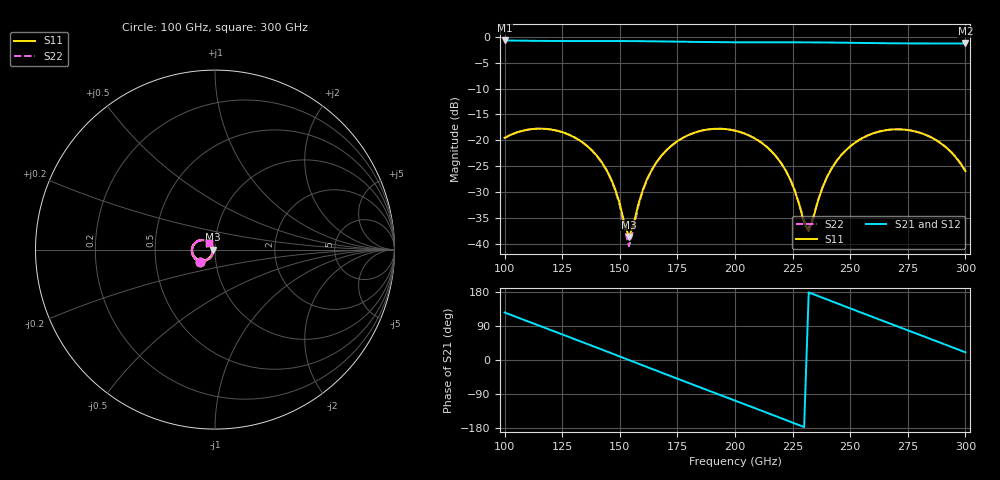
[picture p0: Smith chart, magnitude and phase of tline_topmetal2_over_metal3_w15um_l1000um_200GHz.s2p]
#  GHZ S DB R 50
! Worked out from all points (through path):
!   101 points, 100 GHz to 300 GHz, reference 50 ohm
!   highest |S21| = -0.68 dB at 100 GHz (marker M1); lowest = -1.3 dB at 300 GHz (marker M2)
!   group delay of S21, straight-line fit = 6.46 ps
!   lowest |S11| = -38.7 dB at 154 GHz (marker M3), VSWR 1.02, Z = 48.9 - j0.0638 ohm
!   |S11| at or under -10 dB: start of sweep to end of sweep
!   |S22| runs from -40.5 to -17.8 dB; largest |S21 - S12| = 1.1e-14
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100  -19.54 -140.3  -0.68 125.4  -0.68 125.4  -19.53 -140.7
116  -17.75 -175.3  -0.76 88.3  -0.76 88.3  -17.75 -175.8
124  -18.29 167.4  -0.78 69.8  -0.78 69.8  -18.29 166.7
134  -20.47 146.7  -0.79 46.7  -0.79 46.7  -20.48 145.7
146  -27.28 128.1  -0.79 18.6  -0.79 18.6  -27.38 125.6
150  -32.32 132.1  -0.79 9.3  -0.79 9.3  -32.67 127.7
154  -38.73 -176.8  -0.80 -0.1  -0.80 -0.1  -40.50 -176.7
160  -29.58 -119.5  -0.82 -14.2  -0.82 -14.2  -29.74 -115.8
168  -23.03 -126.6  -0.86 -33.0  -0.86 -33.0  -23.05 -124.8
184  -18.31 -157.9  -0.96 -70.2  -0.96 -70.2  -18.31 -157.0
200  -18.14 168.6  -1.02 -107.2  -1.02 -107.2  -18.13 169.4
216  -22.22 137.4  -1.03 -144.2  -1.03 -144.2  -22.19 138.3
224  -27.61 128.3  -1.04 -162.9  -1.04 -162.9  -27.54 129.6
232  -37.55 -171.2  -1.05 178.4  -1.05 178.4  -37.10 -171.6
234  -35.00 -140.2  -1.05 173.7  -1.05 173.7  -34.78 -141.5
240  -27.07 -123.0  -1.07 159.6  -1.07 159.6  -27.04 -123.5
246  -22.94 -129.6  -1.10 145.5  -1.10 145.5  -22.93 -129.7
258  -19.00 -151.8  -1.17 117.6  -1.17 117.6  -18.99 -151.6
268  -17.92 -172.1  -1.22 94.5  -1.22 94.5  -17.91 -171.7
284  -19.19 155.7  -1.26 57.5  -1.26 57.5  -19.17 156.5
292  -21.52 141.0  -1.26 39.0  -1.26 39.0  -21.48 142.2
300  -25.99 131.0  -1.26 20.3  -1.26 20.3  -25.86 133.2
